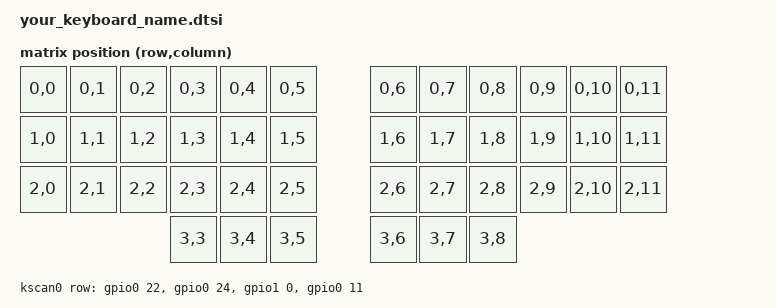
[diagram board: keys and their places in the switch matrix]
/*
 * Korz: hand-wired Corne clone (6 columns x 3 rows + 3 thumbs per half)
 * on a nice!nano v2 (clone).
 */

#include <dt-bindings/zmk/matrix_transform.h>

/ {
	chosen {
		zmk,kscan = &kscan0;
		zmk,matrix-transform = &default_transform;
		zmk,matrix_transform = &default_transform; /* older spelling, harmless */
		zephyr,display = &oled;
	};

	behaviors {
		/* light effects control + left/right sync, see modules/keyfx/include/dt-bindings/zmk/keyfx.h */
		kfx: keyfx {
			compatible = "zmk,behavior-keyfx";
			#binding-cells = <2>;
		};
	};

	default_transform: keymap_transform_0 {
		compatible = "zmk,matrix-transform";
		columns = <12>;
		rows = <4>;

		/*
		 * | SW1  | SW2  | SW3  | SW4  | SW5  | SW6  |   | SW6  | SW5  | SW4  | SW3  | SW2  | SW1  |
		 * | SW7  | SW8  | SW9  | SW10 | SW11 | SW12 |   | SW12 | SW11 | SW10 | SW9  | SW8  | SW7  |
		 * | SW13 | SW14 | SW15 | SW16 | SW17 | SW18 |   | SW18 | SW17 | SW16 | SW15 | SW14 | SW13 |
		 *                      | SW19 | SW20 | SW21 |   | SW21 | SW20 | SW19 |
		 */
		map = <
RC(0,0) RC(0,1) RC(0,2) RC(0,3) RC(0,4) RC(0,5)  RC(0,6) RC(0,7) RC(0,8) RC(0,9) RC(0,10) RC(0,11)
RC(1,0) RC(1,1) RC(1,2) RC(1,3) RC(1,4) RC(1,5)  RC(1,6) RC(1,7) RC(1,8) RC(1,9) RC(1,10) RC(1,11)
RC(2,0) RC(2,1) RC(2,2) RC(2,3) RC(2,4) RC(2,5)  RC(2,6) RC(2,7) RC(2,8) RC(2,9) RC(2,10) RC(2,11)
                        RC(3,3) RC(3,4) RC(3,5)  RC(3,6) RC(3,7) RC(3,8)
		>;
	};

	kscan0: kscan {
		compatible = "zmk,kscan-gpio-matrix";
		diode-direction = "col2row";
		wakeup-source;

		row-gpios
			= <&gpio0 22 (GPIO_ACTIVE_HIGH | GPIO_PULL_DOWN)> /* P0.22 (D4)  */
			, <&gpio0 24 (GPIO_ACTIVE_HIGH | GPIO_PULL_DOWN)> /* P0.24 (D5)  */
			, <&gpio1 0  (GPIO_ACTIVE_HIGH | GPIO_PULL_DOWN)> /* P1.00 (D6)  */
			, <&gpio0 11 (GPIO_ACTIVE_HIGH | GPIO_PULL_DOWN)> /* P0.11 (D7)  */
			;
	};
};

/* SDA = P0.17, SCL = P0.20 (pinctrl comes from the nice_nano board) */
&i2c0 {
	status = "okay";

	oled: ssd1306@3c {
		compatible = "solomon,ssd1306fb";
		reg = <0x3c>;
		width = <128>;
		height = <32>;
		segment-offset = <0>;
		page-offset = <0>;
		display-offset = <0>;
		multiplex-ratio = <31>;
		segment-remap;
		com-invdir;
		com-sequential;
		prechargep = <0xD1>;
		inversion-on;
	};
};
